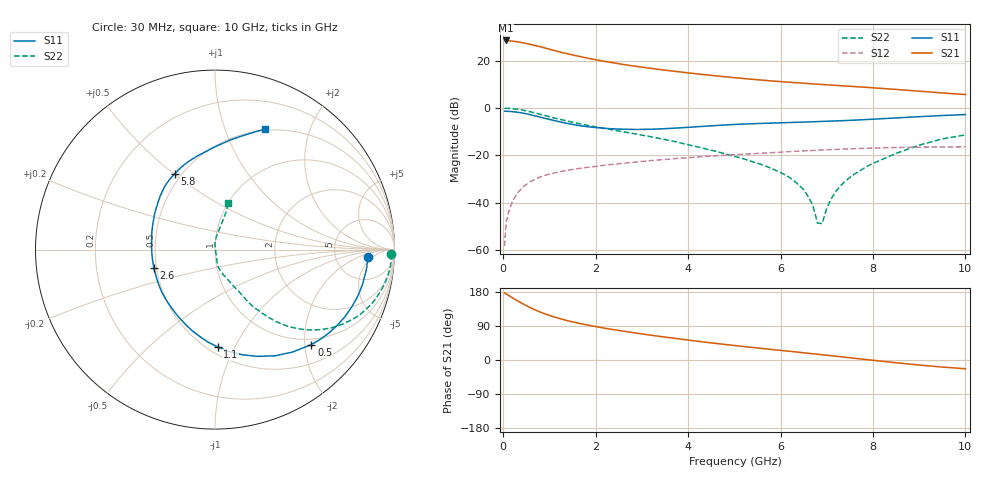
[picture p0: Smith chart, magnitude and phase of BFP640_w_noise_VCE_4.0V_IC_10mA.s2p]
! Infineon Technologies  Discrete & RF Semiconductors
! BFP640
! VCE =  4.0 V,  IC =  10 mA
! Common Emitter S-Parameters:  Apr 2013
# GHz  S  MA  R  50
!  f  S11  S21  S12  S22
! GHz  MAG  ANG  MAG  ANG  MAG  ANG  MAG  ANG
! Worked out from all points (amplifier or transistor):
!   99 points, 30 MHz to 10 GHz, reference 50 ohm
!   highest |S21| = 28.5 dB at 50 MHz (marker M1)
!   |S21| within 3 dB of that: start of sweep to 867.8 MHz
!   unconditionally stable (mu >= 1): 3.736 GHz to end of sweep
!   at 350 MHz: K = 0.19, MSG = 31.4 dB, |S12| = -35.0 dB
!   at 3.5 GHz: K = 0.98, MSG = 18.9 dB, |S12| = -21.7 dB
!   at 10 GHz: K = 1.10, MAG = 9.1 dB, |S12| = -16.4 dB
!   lowest NFmin = 0.64 dB at 450 MHz
!   S11 on the Smith chart (normalised r, x): 30 MHz: 12, -3; 500 MHz: 0.87, -2.14; 1.1 GHz: 0.56, -0.86; 2.6 GHz: 0.48, -0.12; 5.8 GHz: 0.46, +0.50; 10 GHz: 0.49, +1.38
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0.03  0.853 -2.7  26.54 176.7  0.0012 62.8  0.9832 -1.5
0.05  0.853 -4.5  26.71 175.5  0.0027 86.1  0.983 -2.7
0.12  0.8452 -11.1  26.39 170.1  0.0066 73.0  0.9786 -6.6
0.3  0.8143 -27.5  25.05 156.9  0.0155 74.6  0.9397 -16.3
0.4  0.7867 -36.2  24.08 150.0  0.0201 71.2  0.9049 -21.5
0.5  0.7537 -44.6  22.99 143.6  0.0242 67.9  0.8671 -26.1
0.6  0.7153 -53.0  21.94 137.3  0.0282 64.8  0.8245 -30.2
0.8  0.6398 -68.4  19.66 126.5  0.0349 58.9  0.7376 -37.2
1.1  0.5424 -88.5  16.46 113.6  0.0421 52.6  0.6163 -44.9
1.4  0.469 -105.9  13.9 103.5  0.0483 48.2  0.5255 -49.7
1.7  0.4168 -122.0  11.98 95.3  0.0536 45.7  0.4543 -52.8
2.1  0.3796 -141.4  10.04 86.0  0.06 42.5  0.3811 -56.2
2.6  0.3559 -163.0  8.306 76.1  0.0677 39.3  0.3132 -58.6
3.4  0.3618 167.2  6.481 62.1  0.0802 34.4  0.2248 -63.3
4.2  0.4017 144.7  5.248 49.6  0.0921 29.0  0.1509 -71.1
5.1  0.4521 127.5  4.279 36.9  0.1041 22.8  0.0899 -80.2
5.8  0.4785 117.9  3.734 27.9  0.1135 18.2  0.0531 -79.2
6.7  0.5116 107.0  3.232 16.5  0.1265 11.5  0.0087 -65.3
6.9  0.52 104.2  3.137 13.9  0.1293 9.9  0.0036 48.8
7.4  0.5415 97.2  2.917 7.3  0.1358 5.6  0.0283 90.7
8.5  0.6158 82.2  2.463 -7.3  0.1461 -4.3  0.1097 78.5
10  0.7251 67.6  1.921 -23.1  0.1509 -15.2  0.2698 73.9
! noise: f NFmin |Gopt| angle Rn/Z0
0.45  0.64  0.26  10  0.04
0.9  0.66  0.25  17  0.05
1.5  0.67  0.22  29  0.06
1.9  0.7  0.18  48  0.07
2.4  0.74  0.16  59  0.07
3.5  0.87  0.13  71  0.09
5.5  1.09  0.21  -128  0.1
10  1.66  0.58  -60  0.4
